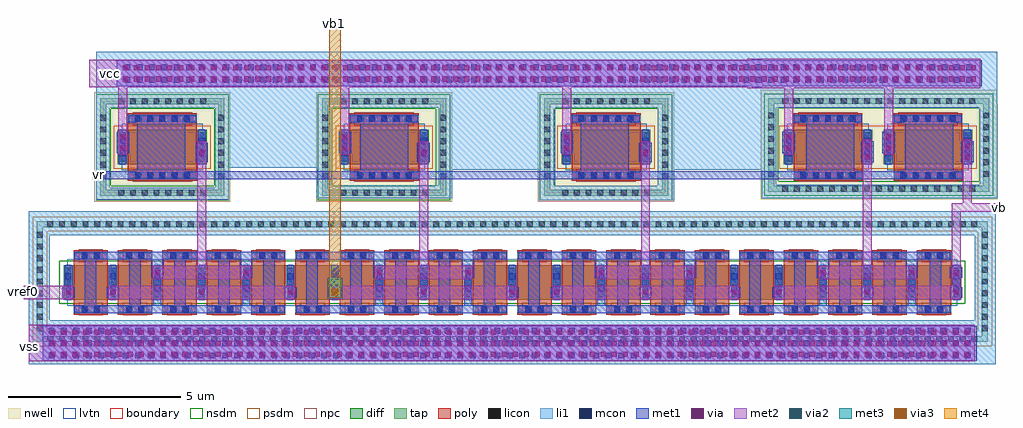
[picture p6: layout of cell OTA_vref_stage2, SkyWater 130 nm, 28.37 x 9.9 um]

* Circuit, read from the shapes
.subckt OTA_vref_stage2 vb vb1 vcc vr vref0 vss
XM1 n1 n2 vref0 vss sky130_fd_pr__nfet_01v8_lvt w=1 l=1
XM2 n2 n2 n1 vss sky130_fd_pr__nfet_01v8_lvt w=1 l=1 m=4
XM3 vb1 n3 n1 vss sky130_fd_pr__nfet_01v8_lvt w=1 l=1
XM4 n3 n3 vb1 vss sky130_fd_pr__nfet_01v8_lvt w=1 l=1 m=4
XM5 n4 n5 vb1 vss sky130_fd_pr__nfet_01v8_lvt w=1 l=1
XM6 n5 n5 n4 vss sky130_fd_pr__nfet_01v8_lvt w=1 l=1 m=4
XM7 vb n6 n4 vss sky130_fd_pr__nfet_01v8_lvt w=1 l=1
XM8 n6 n6 vb vss sky130_fd_pr__nfet_01v8_lvt w=1 l=1 m=4
XM9 n2 vr vcc vcc sky130_fd_pr__pfet_01v8_lvt w=1 l=2
XM10 n3 vr vcc vcc sky130_fd_pr__pfet_01v8_lvt w=1 l=2
XM11 n5 vr vcc vcc sky130_fd_pr__pfet_01v8_lvt w=1 l=2
XM12 n6 vr vcc vcc sky130_fd_pr__pfet_01v8_lvt w=1 l=2
XM13 vb vr vcc vcc sky130_fd_pr__pfet_01v8_lvt w=1 l=2
.ends

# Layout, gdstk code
import gdstk
lib = gdstk.Library(unit=1e-6, precision=1e-09)
def R(c, l, rs):  # rectangles x0, y0, x1, y1
    for r in rs: c.add(gdstk.rectangle(r[:2], r[2:], *l))
def A(c, l, x, y, w, h, nx, ny, dx, dy):  # array of equal rectangles
    R(c, l, [(x+i*dx, y+j*dy, x+i*dx+w, y+j*dy+h) for i in range(nx) for j in range(ny)])
nwell = (64, 20)
diff = (65, 20)
tap = (65, 44)
poly = (66, 20)
licon = (66, 44)
li1 = (67, 20)
mcon = (67, 44)
met1 = (68, 20)
via = (68, 44)
met2 = (69, 20)
via2 = (69, 44)
met3 = (70, 20)
via3 = (70, 44)
met4 = (71, 20)
nsdm = (93, 44)
psdm = (94, 20)
npc = (95, 20)
lvtn = (125, 44)
boundary = (235, 4)

sky130_fd_pr__nfet_01v8_ = lib.new_cell('sky130_fd_pr__nfet_01v8_lvt_LH3874')
R(sky130_fd_pr__nfet_01v8_, diff, [(-0.79,-0.5,0.79,0.5)])
R(sky130_fd_pr__nfet_01v8_, poly, [(-0.5,-0.94,0.5,0.94)])
A(sky130_fd_pr__nfet_01v8_, licon, -0.73, -0.425, 0.17, 0.17, 1, 3, 0, 0.34)
A(sky130_fd_pr__nfet_01v8_, licon, 0.56, -0.425, 0.17, 0.17, 1, 3, 0, 0.34)
R(sky130_fd_pr__nfet_01v8_, licon, [(-0.255,-0.86,-0.085,-0.69), (0.085,-0.86,0.255,-0.69), (-0.255,0.69,-0.085,0.86), (0.085,0.69,0.255,0.86)])
R(sky130_fd_pr__nfet_01v8_, li1, [(-0.5,-0.86,0.5,-0.69), (-0.73,-0.52,-0.56,0.52), (0.56,-0.52,0.73,0.52), (-0.5,0.69,0.5,0.86)])
R(sky130_fd_pr__nfet_01v8_, mcon, [(-0.265,-0.86,-0.095,-0.69), (0.095,-0.86,0.265,-0.69), (-0.73,-0.265,-0.56,-0.095), (0.56,-0.265,0.73,-0.095), (-0.73,0.095,-0.56,0.265), (0.56,0.095,0.73,0.265), (-0.265,0.69,-0.095,0.86), (0.095,0.69,0.265,0.86)])
R(sky130_fd_pr__nfet_01v8_, met1, [(-0.48,-0.89,0.48,-0.66), (-0.76,-0.5,-0.53,0.5), (0.53,-0.5,0.76,0.5), (-0.48,0.66,0.48,0.89)])
R(sky130_fd_pr__nfet_01v8_, nsdm, [(-0.915,-0.625,0.915,0.625)])
R(sky130_fd_pr__nfet_01v8_, npc, [(-0.355,-0.96,0.355,-0.59), (-0.355,0.59,0.355,0.96)])
R(sky130_fd_pr__nfet_01v8_, lvtn, [(-0.68,-0.68,0.68,0.68)])

sky130_fd_pr__pfet_01v8_ = lib.new_cell('sky130_fd_pr__pfet_01v8_lvt_QCP9T2')
R(sky130_fd_pr__pfet_01v8_, nwell, [(-1.47,-1,1.47,1)])
R(sky130_fd_pr__pfet_01v8_, diff, [(-1.29,-0.5,1.29,0.5)])
R(sky130_fd_pr__pfet_01v8_, poly, [(-1,-0.985,1,0.985)])
A(sky130_fd_pr__pfet_01v8_, licon, -0.765, -0.905, 0.17, 0.17, 5, 2, 0.34, 1.64)
A(sky130_fd_pr__pfet_01v8_, licon, -1.23, -0.425, 0.17, 0.17, 1, 3, 0, 0.34)
A(sky130_fd_pr__pfet_01v8_, licon, 1.06, -0.425, 0.17, 0.17, 1, 3, 0, 0.34)
R(sky130_fd_pr__pfet_01v8_, li1, [(-1,-0.905,1,-0.735), (-1.23,-0.52,-1.06,0.52), (1.06,-0.52,1.23,0.52), (-1,0.735,1,0.905)])
A(sky130_fd_pr__pfet_01v8_, mcon, -0.805, -0.905, 0.17, 0.17, 5, 2, 0.36, 1.64)
R(sky130_fd_pr__pfet_01v8_, mcon, [(-1.23,-0.265,-1.06,-0.095), (1.06,-0.265,1.23,-0.095), (-1.23,0.095,-1.06,0.265), (1.06,0.095,1.23,0.265)])
R(sky130_fd_pr__pfet_01v8_, met1, [(-0.98,-0.935,0.98,-0.705), (-1.26,-0.5,-1.03,0.5), (1.03,-0.5,1.26,0.5), (-0.98,0.705,0.98,0.935)])
R(sky130_fd_pr__pfet_01v8_, psdm, [(-1.415,-0.625,1.415,0.625)])
R(sky130_fd_pr__pfet_01v8_, npc, [(-0.865,-1.005,0.865,-0.635), (-0.865,0.635,0.865,1.005)])
R(sky130_fd_pr__pfet_01v8_, lvtn, [(-1.18,-0.68,1.18,0.68)])

c_sky130_fd_pr__pfet_01v8_ = lib.new_cell('sky130_fd_pr__pfet_01v8_lvt_L4HHUA')
R(c_sky130_fd_pr__pfet_01v8_, nwell, [(-1.47,-1,1.47,1)])
R(c_sky130_fd_pr__pfet_01v8_, diff, [(-1.29,-0.5,1.29,0.5)])
R(c_sky130_fd_pr__pfet_01v8_, poly, [(-1,-0.985,1,0.985)])
A(c_sky130_fd_pr__pfet_01v8_, licon, -0.765, -0.905, 0.17, 0.17, 5, 2, 0.34, 1.64)
A(c_sky130_fd_pr__pfet_01v8_, licon, -1.23, -0.425, 0.17, 0.17, 1, 3, 0, 0.34)
A(c_sky130_fd_pr__pfet_01v8_, licon, 1.06, -0.425, 0.17, 0.17, 1, 3, 0, 0.34)
R(c_sky130_fd_pr__pfet_01v8_, li1, [(-1,-0.905,1,-0.735), (-1.23,-0.52,-1.06,0.52), (1.06,-0.52,1.23,0.52), (-1,0.735,1,0.905)])
A(c_sky130_fd_pr__pfet_01v8_, mcon, -0.805, -0.905, 0.17, 0.17, 5, 2, 0.36, 1.64)
R(c_sky130_fd_pr__pfet_01v8_, mcon, [(-1.23,-0.265,-1.06,-0.095), (1.06,-0.265,1.23,-0.095), (-1.23,0.095,-1.06,0.265), (1.06,0.095,1.23,0.265)])
R(c_sky130_fd_pr__pfet_01v8_, met1, [(-0.98,-0.935,0.98,-0.705), (-1.26,-0.5,-1.03,0.5), (1.03,-0.5,1.26,0.5), (-0.98,0.705,0.98,0.935)])
R(c_sky130_fd_pr__pfet_01v8_, psdm, [(-1.415,-0.625,1.415,0.625)])
R(c_sky130_fd_pr__pfet_01v8_, npc, [(-0.865,-1.005,0.865,-0.635), (-0.865,0.635,0.865,1.005)])
R(c_sky130_fd_pr__pfet_01v8_, lvtn, [(-1.18,-0.68,1.18,0.68)])

c_sky130_fd_pr__pfet_01v8__ = lib.new_cell('sky130_fd_pr__pfet_01v8_lvt_Q4S9T2')
R(c_sky130_fd_pr__pfet_01v8__, nwell, [(-1.98,-1.595,1.98,1.595)])
R(c_sky130_fd_pr__pfet_01v8__, diff, [(-1.29,-0.5,1.29,0.5)])
R(c_sky130_fd_pr__pfet_01v8__, tap, [(-1.8,-1.415,1.8,-1.245), (-1.8,-1.245,-1.63,1.245), (1.63,-1.245,1.8,1.245), (-1.8,1.245,1.8,1.415)])
R(c_sky130_fd_pr__pfet_01v8__, poly, [(-1,-0.985,1,0.985)])
A(c_sky130_fd_pr__pfet_01v8__, licon, -1.275, -1.415, 0.17, 0.17, 8, 2, 0.34, 2.66)
A(c_sky130_fd_pr__pfet_01v8__, licon, -1.8, -0.935, 0.17, 0.17, 1, 6, 0, 0.34)
A(c_sky130_fd_pr__pfet_01v8__, licon, 1.63, -0.935, 0.17, 0.17, 1, 6, 0, 0.34)
A(c_sky130_fd_pr__pfet_01v8__, licon, -0.765, -0.905, 0.17, 0.17, 5, 2, 0.34, 1.64)
A(c_sky130_fd_pr__pfet_01v8__, licon, -1.23, -0.425, 0.17, 0.17, 1, 3, 0, 0.34)
A(c_sky130_fd_pr__pfet_01v8__, licon, 1.06, -0.425, 0.17, 0.17, 1, 3, 0, 0.34)
R(c_sky130_fd_pr__pfet_01v8__, li1, [(-1.8,-1.415,1.8,-1.245), (-1.8,-1.245,-1.63,1.245), (1.63,-1.245,1.8,1.245), (-1,-0.905,1,-0.735), (-1.23,-0.52,-1.06,0.52), (1.06,-0.52,1.23,0.52), (-1,0.735,1,0.905), (-1.8,1.245,1.8,1.415)])
A(c_sky130_fd_pr__pfet_01v8__, mcon, -0.805, -0.905, 0.17, 0.17, 5, 2, 0.36, 1.64)
R(c_sky130_fd_pr__pfet_01v8__, mcon, [(-1.23,-0.265,-1.06,-0.095), (1.06,-0.265,1.23,-0.095), (-1.23,0.095,-1.06,0.265), (1.06,0.095,1.23,0.265)])
R(c_sky130_fd_pr__pfet_01v8__, met1, [(-0.98,-0.935,0.98,-0.705), (-1.26,-0.5,-1.03,0.5), (1.03,-0.5,1.26,0.5), (-0.98,0.705,0.98,0.935)])
R(c_sky130_fd_pr__pfet_01v8__, nsdm, [(-1.925,-1.54,1.925,-1.12), (-1.925,-1.12,-1.505,1.12), (1.505,-1.12,1.925,1.12), (-1.925,1.12,1.925,1.54)])
R(c_sky130_fd_pr__pfet_01v8__, psdm, [(-1.415,-0.625,1.415,0.625)])
R(c_sky130_fd_pr__pfet_01v8__, npc, [(-0.865,-1.005,0.865,-0.635), (-0.865,0.635,0.865,1.005)])
R(c_sky130_fd_pr__pfet_01v8__, lvtn, [(-1.18,-0.68,1.18,0.68)])
R(c_sky130_fd_pr__pfet_01v8__, boundary, [(-1.715,-1.33,1.715,1.33)])

ota_vref_stage2 = lib.new_cell('OTA_vref_stage2')
R(ota_vref_stage2, nwell, [(16.795,7.475,23.66,10.65)])
R(ota_vref_stage2, tap, [(-4.25,3.325,23.39,3.495), (-4.25,3.495,-4.08,6.665), (23.22,3.495,23.39,6.665), (-4.25,6.665,23.39,6.835), (17.01,7.695,23.43,7.865), (17.01,7.865,17.18,10.245), (23.26,7.865,23.43,10.245), (17.01,10.245,23.43,10.415)])
A(ota_vref_stage2, licon, -3.945, 3.325, 0.17, 0.17, 80, 2, 0.34, 3.34)
A(ota_vref_stage2, licon, -4.25, 3.635, 0.17, 0.17, 1, 9, 0, 0.34)
A(ota_vref_stage2, licon, 23.22, 3.635, 0.17, 0.17, 1, 9, 0, 0.34)
A(ota_vref_stage2, licon, 17.415, 7.695, 0.17, 0.17, 17, 2, 0.34, 2.55)
A(ota_vref_stage2, licon, 17.01, 8.12, 0.17, 0.17, 1, 6, 0, 0.34)
A(ota_vref_stage2, licon, 23.26, 8.12, 0.17, 0.17, 1, 6, 0, 0.34)
R(ota_vref_stage2, li1, [(-4.485,2.675,23.625,3.955), (-4.485,3.955,-3.87,6.43), (23.01,3.955,23.625,6.43), (-4.485,6.43,23.625,7.125), (10.355,7.45,14.275,7.865), (-2.51,7.465,1.325,7.475), (-2.52,7.475,1.325,7.805), (3.875,7.495,7.825,7.875), (16.825,7.495,23.675,7.505), (16.815,7.505,23.675,7.89), (-2.52,7.805,-2.13,10.135), (0.93,7.805,1.32,8.385), (10.355,7.865,10.81,8.325), (13.795,7.865,14.275,8.325), (3.895,7.875,4.32,8.385), (7.425,7.875,7.825,8.325), (16.815,7.89,17.24,8.325), (23.155,7.89,23.675,10.135), (7.425,8.325,10.81,10.13), (13.795,8.325,17.24,10.13), (0.93,8.385,4.32,10.135), (7.425,10.13,11.29,10.135), (13.79,10.13,17.24,10.135), (-2.52,10.135,23.675,10.215), (-2.52,10.215,23.67,11.76), (16.46,11.76,23.67,11.765)])
A(ota_vref_stage2, mcon, -3.91, 2.845, 0.17, 0.17, 75, 3, 0.36, 0.36)
A(ota_vref_stage2, mcon, -1.71, 10.865, 0.17, 0.17, 69, 2, 0.36, 0.36)
A(ota_vref_stage2, met1, -2.22, 4.615, 0.36, 0.3, 3, 1, 2.58, 0)
A(ota_vref_stage2, met1, 4.23, 4.615, 0.36, 0.3, 3, 1, 2.58, 0)
A(ota_vref_stage2, met1, 10.68, 4.615, 0.36, 0.3, 3, 1, 2.58, 0)
A(ota_vref_stage2, met1, 17.13, 4.615, 0.36, 0.3, 3, 1, 2.58, 0)
A(ota_vref_stage2, met1, 0.36, 8.55, 0.36, 0.565, 3, 1, 6.45, 0)
A(ota_vref_stage2, met1, -1.93, 8.815, 0.36, 0.615, 3, 1, 6.45, 0)
R(ota_vref_stage2, met1, [(-4.08,2.785,23.075,3.8), (-2.21,4.165,-1.815,4.395), (-0.92,4.165,-0.575,4.395), (0.375,4.165,0.715,4.395), (1.665,4.165,2.005,4.395), (4.24,4.165,4.58,4.395), (5.53,4.165,5.87,4.395), (6.81,4.165,7.17,4.395), (8.11,4.165,8.47,4.395), (10.69,4.165,11.03,4.395), (11.98,4.165,12.32,4.395), (13.275,4.165,13.615,4.395), (14.56,4.165,14.9,4.395), (17.145,4.165,17.475,4.395), (18.435,4.165,18.765,4.395), (19.715,4.165,20.065,4.395), (21.01,4.165,21.345,4.395), (7.425,4.375,7.76,5.725), (-0.26,4.38,0.075,5.73), (3.585,4.38,3.92,5.73), (6.16,4.38,6.495,5.73), (13.91,4.38,14.245,5.73), (17.77,4.38,18.105,5.73), (19.07,4.38,19.405,5.73), (20.365,4.38,20.7,5.73), (-2.86,4.385,-2.525,5.735), (-1.57,4.385,-1.235,5.735), (2.325,4.385,2.66,5.735), (4.855,4.385,5.19,5.735), (8.735,4.385,9.07,5.735), (15.16,4.385,15.495,5.735), (16.46,4.385,16.795,5.735), (21.7,4.385,22.035,5.735), (1.025,4.39,1.36,5.74), (10.025,4.39,10.36,5.74), (11.31,4.39,11.645,5.74), (12.615,4.39,12.95,5.74), (-0.865,4.395,-0.635,4.565), (1.715,4.395,1.945,4.565), (5.585,4.395,5.815,4.56), (8.165,4.395,8.395,4.56), (12.035,4.395,12.265,4.58), (14.615,4.395,14.845,4.57), (18.485,4.395,18.715,4.57), (21.065,4.395,21.295,4.57), (-3.51,4.615,-3.15,4.915), (-0.93,5.195,-0.57,5.715), (1.65,5.195,2.01,5.72), (5.52,5.195,5.88,5.715), (8.1,5.195,8.46,5.715), (11.97,5.195,12.33,5.72), (14.55,5.195,14.91,5.715), (18.42,5.195,18.78,5.72), (21,5.195,21.36,5.72), (22.29,5.195,22.65,5.495), (-2.21,5.715,-1.86,5.945), (-0.945,5.715,-0.5,5.945), (0.375,5.715,0.725,5.945), (4.24,5.715,4.585,5.945), (5.52,5.715,5.875,5.945), (6.825,5.715,7.165,5.945), (8.11,5.715,8.455,5.945), (10.685,5.715,11.035,5.945), (13.26,5.715,13.62,5.945), (14.55,5.715,14.915,5.725), (17.145,5.715,17.48,5.945), (19.725,5.715,20.06,5.945), (1.66,5.72,2.005,5.945), (11.98,5.72,12.33,5.945), (18.435,5.72,18.77,5.945), (21.01,5.72,21.345,5.945), (14.555,5.725,14.915,5.945), (-2.63,8.055,22.655,8.285), (-1.335,8.285,0.06,9.715), (5.155,8.285,6.55,9.715), (11.56,8.285,12.955,9.715), (18.11,8.285,19.505,9.73), (20.99,8.285,22.385,9.725), (19.71,8.55,20.07,9.165), (22.615,8.55,22.975,9.165), (17.42,8.81,17.78,9.43), (20.325,8.815,20.685,9.43), (16.53,10.735,16.82,10.755), (-1.93,10.755,23.215,11.51), (16.53,11.51,16.82,11.53)])
A(ota_vref_stage2, via, -3.86, 2.895, 0.15, 0.15, 84, 3, 0.32, 0.32)
A(ota_vref_stage2, via, -2.115, 4.69, 0.15, 0.15, 3, 1, 2.58, 0)
A(ota_vref_stage2, via, 4.335, 4.69, 0.15, 0.15, 3, 1, 2.58, 0)
A(ota_vref_stage2, via, 10.785, 4.69, 0.15, 0.15, 3, 1, 2.58, 0)
A(ota_vref_stage2, via, 17.235, 4.69, 0.15, 0.15, 3, 1, 2.58, 0)
A(ota_vref_stage2, via, 0.465, 8.755, 0.15, 0.15, 3, 1, 6.45, 0)
A(ota_vref_stage2, via, -1.825, 8.885, 0.15, 0.15, 4, 2, 6.45, 0.32)
A(ota_vref_stage2, via, -1.75, 10.895, 0.15, 0.15, 78, 2, 0.32, 0.32)
R(ota_vref_stage2, via, [(-3.405,4.69,-3.255,4.84), (-0.825,5.27,-0.675,5.42), (1.755,5.27,1.905,5.42), (5.625,5.27,5.775,5.42), (8.205,5.27,8.355,5.42), (12.075,5.27,12.225,5.42), (14.655,5.27,14.805,5.42), (18.525,5.27,18.675,5.42), (21.105,5.27,21.255,5.42), (22.395,5.27,22.545,5.42), (19.815,8.62,19.965,8.77), (22.72,8.62,22.87,8.77), (20.43,8.885,20.58,9.035), (19.815,8.94,19.965,9.09), (22.72,8.94,22.87,9.09), (20.43,9.205,20.58,9.355)])
A(ota_vref_stage2, met2, -0.88, 5.145, 2.84, 0.4, 4, 1, 6.45, 0)
A(ota_vref_stage2, met2, 0.41, 5.545, 0.26, 3.62, 3, 1, 6.45, 0)
A(ota_vref_stage2, met2, -1.88, 8.765, 0.26, 1.97, 3, 1, 6.45, 0)
R(ota_vref_stage2, met2, [(-4.485,2.765,23.015,3.82), (-4.64,4.565,-3.2,4.965), (-2.17,4.565,3.25,4.965), (4.25,4.565,9.7,4.965), (10.73,4.565,16.15,4.965), (17.18,4.565,22.6,4.965), (4.25,4.965,4.57,4.985), (22.34,4.965,22.6,7.11), (19.76,5.545,20.02,9.21), (22.34,7.11,23.73,7.355), (22.665,7.355,22.925,9.215), (17.47,8.76,17.73,10.705), (20.375,8.765,20.635,10.705), (16.395,10.705,23.165,10.735), (-2.735,10.735,23.165,11.53), (16.395,11.53,23.165,11.56)])
R(ota_vref_stage2, via2, [(4.31,4.675,4.51,4.875)])
R(ota_vref_stage2, met3, [(4.2,4.59,4.62,5.175)])
R(ota_vref_stage2, via3, [(4.31,4.675,4.51,4.875)])
R(ota_vref_stage2, met4, [(4.245,4.61,4.575,12.575)])
R(ota_vref_stage2, nsdm, [(16.885,7.57,23.555,7.99), (16.885,7.99,17.305,10.12), (23.135,7.99,23.555,10.12), (16.885,10.12,23.555,10.54)])
R(ota_vref_stage2, psdm, [(-4.375,3.2,23.515,3.62), (-4.375,3.62,-3.955,6.54), (23.095,3.62,23.515,6.54), (-4.375,6.54,23.515,6.96), (20.16,8.365,20.235,9.615)])
ota_vref_stage2.add(gdstk.Reference(sky130_fd_pr__nfet_01v8_, (20.535,5.055)))
ota_vref_stage2.add(gdstk.Reference(sky130_fd_pr__nfet_01v8_, (19.245,5.055)))
ota_vref_stage2.add(gdstk.Reference(sky130_fd_pr__nfet_01v8_, (15.375,5.055)))
ota_vref_stage2.add(gdstk.Reference(sky130_fd_pr__nfet_01v8_, (14.085,5.055)))
ota_vref_stage2.add(gdstk.Reference(sky130_fd_pr__nfet_01v8_, (12.795,5.055)))
ota_vref_stage2.add(gdstk.Reference(sky130_fd_pr__nfet_01v8_, (16.665,5.055)))
ota_vref_stage2.add(gdstk.Reference(sky130_fd_pr__nfet_01v8_, (17.955,5.055)))
ota_vref_stage2.add(gdstk.Reference(sky130_fd_pr__pfet_01v8_, (18.745,8.99)))
ota_vref_stage2.add(gdstk.Reference(sky130_fd_pr__nfet_01v8_, (10.215,5.055)))
ota_vref_stage2.add(gdstk.Reference(sky130_fd_pr__nfet_01v8_, (11.505,5.055)))
ota_vref_stage2.add(gdstk.Reference(sky130_fd_pr__nfet_01v8_, (8.925,5.055)))
ota_vref_stage2.add(gdstk.Reference(c_sky130_fd_pr__pfet_01v8_, (21.65,8.99)))
ota_vref_stage2.add(gdstk.Reference(c_sky130_fd_pr__pfet_01v8__, (5.845,8.99)))
ota_vref_stage2.add(gdstk.Reference(sky130_fd_pr__nfet_01v8_, (7.635,5.055)))
ota_vref_stage2.add(gdstk.Reference(sky130_fd_pr__nfet_01v8_, (6.345,5.055)))
ota_vref_stage2.add(gdstk.Reference(sky130_fd_pr__nfet_01v8_, (5.055,5.055)))
ota_vref_stage2.add(gdstk.Reference(sky130_fd_pr__nfet_01v8_, (3.765,5.055)))
ota_vref_stage2.add(gdstk.Reference(sky130_fd_pr__nfet_01v8_, (-1.395,5.055)))
ota_vref_stage2.add(gdstk.Reference(sky130_fd_pr__nfet_01v8_, (-2.685,5.055)))
ota_vref_stage2.add(gdstk.Reference(sky130_fd_pr__nfet_01v8_, (2.475,5.055)))
ota_vref_stage2.add(gdstk.Reference(sky130_fd_pr__nfet_01v8_, (1.185,5.055)))
ota_vref_stage2.add(gdstk.Reference(sky130_fd_pr__nfet_01v8_, (-0.105,5.055)))
ota_vref_stage2.add(gdstk.Reference(c_sky130_fd_pr__pfet_01v8__, (-0.605,8.99)))
ota_vref_stage2.add(gdstk.Reference(c_sky130_fd_pr__pfet_01v8__, (12.295,8.99)))
ota_vref_stage2.add(gdstk.Reference(sky130_fd_pr__nfet_01v8_, (21.825,5.055)))
ota_vref_stage2.add(gdstk.Label('vcc', (-2.11,11.14), layer=69, texttype=5))
ota_vref_stage2.add(gdstk.Label('vss', (-4.48,3.185), layer=69, texttype=5))
ota_vref_stage2.add(gdstk.Label('vb', (23.72,7.23), layer=69, texttype=5))
ota_vref_stage2.add(gdstk.Label('vref0', (-4.635,4.785), layer=69, texttype=5))
ota_vref_stage2.add(gdstk.Label('vr', (-2.47,8.185), layer=68, texttype=5))
ota_vref_stage2.add(gdstk.Label('vb1', (4.395,12.57), layer=71, texttype=5))

lib.write_gds('OTA_vref_stage2.gds')
